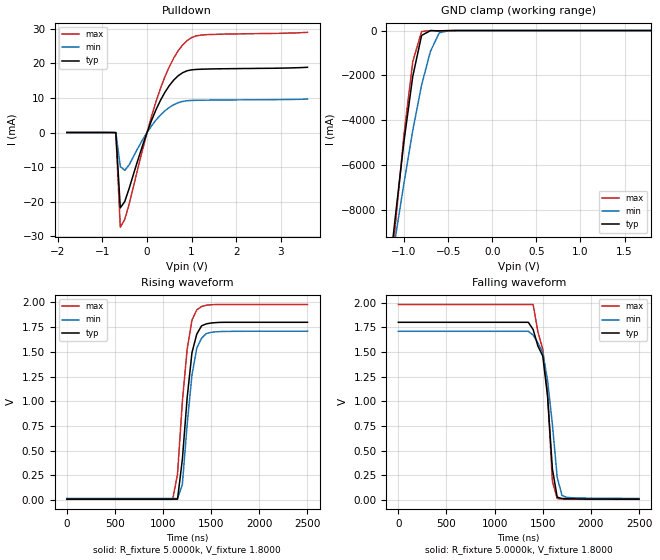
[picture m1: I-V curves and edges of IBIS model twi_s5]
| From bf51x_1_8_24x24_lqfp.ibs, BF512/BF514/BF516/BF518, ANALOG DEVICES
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|   Model ptwi400kv123
[Model]   twi_s5
Model_type   I/O_open_drain
Polarity   Non-Inverting
Enable   Active-Low
Vinl =   0.5400V
Vinh =   1.2600V
Vmeas =   0.9000V
Cref =  50.0000pF
Rref =   5.0000k
Vref =   1.8000V
C_comp   7.1300pF   6.4200pF   7.8500pF
[Temperature Range]   25.0000   0.1250k   0.000
[Voltage Range]   1.8000V   1.7100V   1.9800V
[Pullup Reference]   1.8000V   1.7100V   1.9800V
[Pulldown Reference]   0.000V   0.000V   0.000V
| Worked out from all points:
|   slope of the pulldown table from 0 to 0.27 V, typ, clamps not added: 31.9 ohm
|   GND clamp passes 1 mA (typ) near -0.42 V on its own axis
|   rising waveform, R_fixture 5.0000k, V_fixture 1.8000: 20-80 % time 99.7ns typ, 103ns min, 100ns max; typ from 0.01 V to 1.8 V
|   falling waveform, R_fixture 5.0000k, V_fixture 1.8000: 20-80 % time 94.3ns typ, 116ns min, 105ns max; typ from 1.8 V to 0.01 V
[Pulldown]
| voltage   I(typ)   I(min)   I(max)
-1.8V     0A         0A         0A
-700mV    -33uA      0A         -71uA
-600mV    -21.78mA   -9.8mA     -27.33mA
-500mV    -19.93mA   -10.95mA   -25.1mA
-400mV    -16.1mA    -9.283mA   -20.59mA
0V        0A         0A         0A
300mV     9.264mA    5.026mA    12.7mA
500mV     13.56mA    7.25mA     19.01mA
800mV     17.28mA    8.981mA    25.3mA
1V        18.1mA     9.26mA     27.41mA
1.2V      18.27mA    9.323mA    28.11mA
3.6V      18.83mA    9.652mA    28.93mA
[GND_clamp]
| voltage   I(typ)   I(min)   I(max)
-1.8V     -34.64A    -27.77A    -40.94A
-1.2V     -11.99A    -11.86A    -13.19A
-1.1V     -8.386A    -9.302A    -8.788A
-1V       -4.95A     -6.808A    -4.648A
-900mV    -2.038A    -4.453A    -1.382A
-800mV    -218.6mA   -2.426A    -44.06mA
-700mV    -4.923mA   -929.4mA   -1.44mA
-600mV    -13.47mA   -102.3mA   -20.2mA
-500mV    -3.405mA   -11.16mA   -6.101mA
-400mV    -320.6uA   -1.097mA   -659.8uA
1.8V      438.9pA    17.59nA    412.9pA
[Ramp]
| variable   typ   min   max
dV/dt_r   1.0735/94.1940n   1.0152/95.3770n   1.1825/98.1183n
dV/dt_f   1.0740/91.5253n   1.0149/0.1106u   1.1831/0.1067u
R_load = 5.0000k
[Rising Waveform]
R_fixture = 5.0000k
V_fixture = 1.8000
V_fixture_min = 1.7100
V_fixture_max = 1.9800
L_fixture = 0.000H
C_fixture = 0.000F
| time   V(typ)   V(min)   V(max)
0s        9.839mV    16.93mV    8.112mV
1.1us     9.839mV    16.93mV    8.112mV
1.15us    9.839mV    16.93mV    263.2mV
1.2us     409.5mV    156.8mV    994.7mV
1.25us    1.035V     765mV      1.526V
1.3us     1.492V     1.266V     1.821V
1.35us    1.68V      1.538V     1.925V
1.4us     1.764V     1.639V     1.959V
1.5us     1.792V     1.698V     1.976V
2.5us     1.799V     1.709V     1.979V
[Falling Waveform]
R_fixture = 5.0000k
V_fixture = 1.8000
V_fixture_min = 1.7100
V_fixture_max = 1.9800
L_fixture = 0.000H
C_fixture = 0.000F
| time   V(typ)   V(min)   V(max)
0s        1.8V       1.709V     1.98V
1.35us    1.8V       1.709V     1.98V
1.4us     1.726V     1.671V     1.98V
1.5us     1.46V      1.494V     1.526V
1.55us    1.049V     1.212V     1.089V
1.6us     315.6mV    768.5mV    189.8mV
1.65us    30.53mV    230mV      15.81mV
1.7us     16.45mV    46.48mV    11.88mV
1.75us    13.99mV    27.93mV    10.44mV
2.5us     9.956mV    17.5mV     8.155mV
